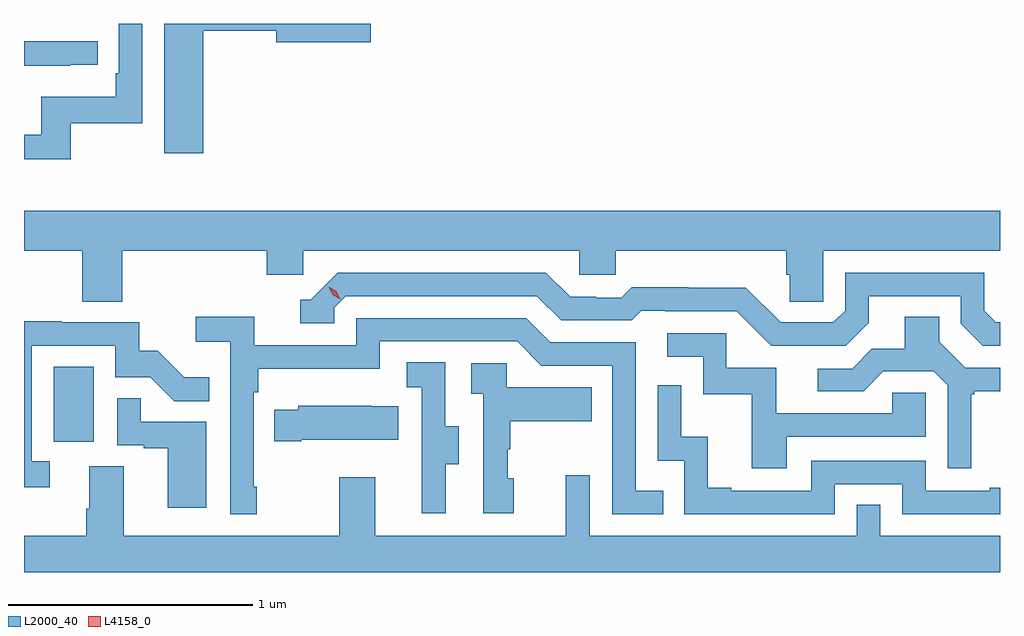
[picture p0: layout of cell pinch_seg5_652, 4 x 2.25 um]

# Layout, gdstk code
import gdstk
lib = gdstk.Library(unit=1e-6, precision=1e-09)
def R(c, l, rs):  # rectangles x0, y0, x1, y1
    for r in rs: c.add(gdstk.rectangle(r[:2], r[2:], *l))
def P(c, l, *ps):  # polygons
    for p in ps: c.add(gdstk.Polygon(p, *l))
L2000_40 = (2000, 40)
L4158_0 = (4158, 0)

pinch_seg5_652 = lib.new_cell('pinch_seg5_652')
R(pinch_seg5_652, L2000_40, [(1045.994,833.334,1046.158,833.641)])
P(pinch_seg5_652, L2000_40, [(1046.608,835.018),(1046.906,835.018),(1046.906,834.971),(1047.295,834.971),(1047.295,835.047),(1046.447,835.047),(1046.447,834.516),(1046.608,834.516)],
  [(1046.065,834.639),(1046.358,834.639),(1046.358,835.047),(1046.262,835.047),(1046.262,834.844),(1046.249,834.844),(1046.249,834.748),(1045.944,834.748),(1045.944,834.593),(1045.873,834.593),(1045.873,834.492),(1046.065,834.492)],
  [(1046.063,834.879),(1046.176,834.879),(1046.176,834.975),(1045.873,834.975),(1045.873,834.874),(1046.063,834.874)],
  [(1046.276,834.116),(1046.867,834.116),(1046.867,834.018),(1047.018,834.018),(1047.018,834.116),(1048.149,834.116),(1048.149,834.018),(1048.299,834.018),(1048.299,834.116),(1048.997,834.116),(1048.997,834.018),(1049.011,834.018),(1049.011,833.908),(1049.148,833.908),(1049.148,834.116),(1049.873,834.116),(1049.873,834.28),(1045.873,834.28),(1045.873,834.116),(1046.111,834.116),(1046.111,833.908),(1046.276,833.908)],
  [(1049.335,833.821),(1049.335,833.931),(1049.712,833.931),(1049.712,833.817),(1049.802,833.727),(1049.873,833.727),(1049.873,833.823),(1049.856,833.823),(1049.808,833.871),(1049.808,834.027),(1049.238,834.027),(1049.238,833.871),(1049.19,833.823),(1048.974,833.823),(1048.832,833.965),(1048.596,833.965),(1048.596,833.968),(1048.363,833.968),(1048.321,833.925),(1048.218,833.925),(1048.218,833.928),(1048.111,833.928),(1048.012,834.027),(1047.159,834.027),(1047.048,833.916),(1047.005,833.916),(1047.005,833.82),(1047.144,833.82),(1047.144,833.883),(1047.192,833.931),(1047.975,833.931),(1048.074,833.832),(1048.363,833.832),(1048.402,833.871),(1048.501,833.871),(1048.501,833.868),(1048.794,833.868),(1048.935,833.727),(1049.241,833.727)],
  [(1049.755,833.529),(1049.767,833.529),(1049.767,833.54),(1049.873,833.54),(1049.873,833.637),(1049.73,833.637),(1049.623,833.744),(1049.623,833.846),(1049.483,833.846),(1049.483,833.714),(1049.348,833.714),(1049.268,833.634),(1049.127,833.634),(1049.127,833.541),(1049.314,833.541),(1049.395,833.622),(1049.601,833.622),(1049.658,833.565),(1049.658,833.226),(1049.755,833.226)],
  [(1046.827,833.149),(1046.814,833.149),(1046.814,833.537),(1046.834,833.537),(1046.834,833.633),(1047.33,833.633),(1047.33,833.745),(1047.894,833.745),(1047.993,833.646),(1048.284,833.646),(1048.284,833.037),(1048.493,833.037),(1048.493,833.133),(1048.38,833.133),(1048.38,833.742),(1048.03,833.742),(1047.931,833.841),(1047.234,833.841),(1047.234,833.73),(1046.816,833.73),(1046.816,833.846),(1046.577,833.846),(1046.577,833.744),(1046.718,833.744),(1046.718,833.037),(1046.827,833.037)],
  [(1045.978,833.253),(1045.905,833.253),(1045.905,833.727),(1046.247,833.727),(1046.247,833.598),(1046.391,833.598),(1046.489,833.5),(1046.633,833.5),(1046.633,833.599),(1046.529,833.599),(1046.422,833.706),(1046.346,833.706),(1046.346,833.823),(1046.027,833.823),(1046.027,833.828),(1045.873,833.828),(1045.873,833.148),(1045.978,833.148)],
  [(1048.999,833.355),(1049.568,833.355),(1049.568,833.535),(1049.431,833.535),(1049.431,833.451),(1048.957,833.451),(1048.957,833.637),(1048.752,833.637),(1048.752,833.778),(1048.509,833.778),(1048.509,833.682),(1048.656,833.682),(1048.656,833.529),(1048.855,833.529),(1048.855,833.226),(1048.999,833.226)],
  [(1047.601,833.242),(1047.655,833.242),(1047.655,833.397),(1047.6,833.397),(1047.6,833.66),(1047.441,833.66),(1047.441,833.557),(1047.504,833.557),(1047.504,833.253),(1047.503,833.253),(1047.503,833.04),(1047.601,833.04)],
  [(1047.88,833.184),(1047.855,833.184),(1047.855,833.303),(1047.865,833.303),(1047.865,833.417),(1048.199,833.417),(1048.199,833.557),(1047.852,833.557),(1047.852,833.655),(1047.705,833.655),(1047.705,833.531),(1047.756,833.531),(1047.756,833.04),(1047.88,833.04)],
  [(1049.196,833.16),(1049.472,833.16),(1049.472,833.037),(1049.873,833.037),(1049.873,833.146),(1049.831,833.146),(1049.831,833.133),(1049.568,833.133),(1049.568,833.256),(1049.1,833.256),(1049.1,833.133),(1048.771,833.133),(1048.771,833.146),(1048.676,833.146),(1048.676,833.354),(1048.566,833.354),(1048.566,833.566),(1048.47,833.566),(1048.47,833.256),(1048.578,833.256),(1048.578,833.037),(1049.196,833.037)],
  [(1046.62,833.415),(1046.351,833.415),(1046.351,833.513),(1046.256,833.513),(1046.256,833.319),(1046.363,833.319),(1046.363,833.307),(1046.462,833.307),(1046.462,833.064),(1046.62,833.064)],
  [(1047.01,833.342),(1047.407,833.342),(1047.407,833.479),(1047.299,833.479),(1047.299,833.482),(1046.997,833.482),(1046.997,833.464),(1046.899,833.464),(1046.899,833.335),(1047.01,833.335)],
  [(1049.873,832.948),(1049.382,832.948),(1049.382,833.075),(1049.286,833.075),(1049.286,832.948),(1048.191,832.948),(1048.191,833.197),(1048.094,833.197),(1048.094,832.948),(1047.313,832.948),(1047.313,833.188),(1047.166,833.188),(1047.166,832.948),(1046.281,832.948),(1046.281,833.234),(1046.141,833.234),(1046.141,833.06),(1046.129,833.06),(1046.129,832.948),(1045.873,832.948),(1045.873,832.799),(1049.873,832.799)])
P(pinch_seg5_652, L4158_0, [(1047.169,833.918),(1047.138,833.937),(1047.121,833.969),(1047.121,833.97),(1047.121,833.97),(1047.152,833.95),(1047.169,833.918),(1047.169,833.918)])

lib.write_gds('pinch_seg5_652.gds')
